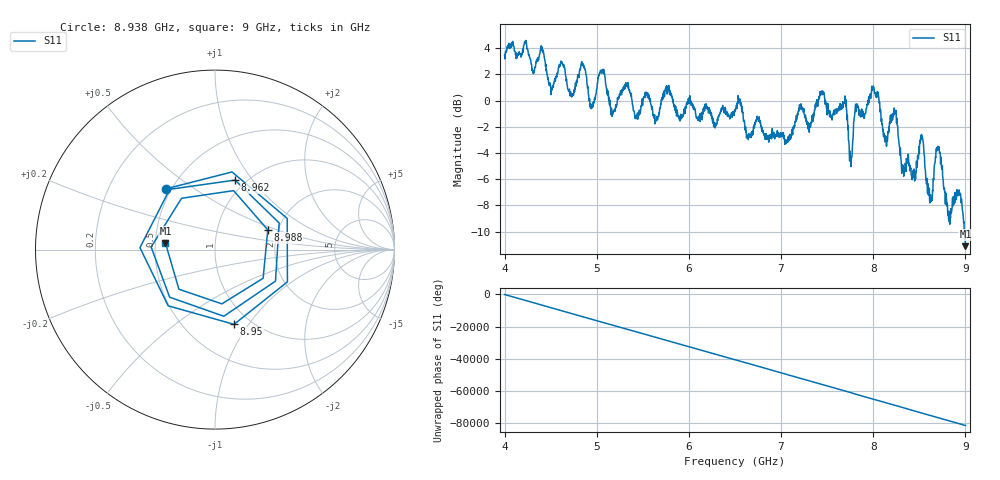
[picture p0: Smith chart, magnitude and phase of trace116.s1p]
! Created with skrf 1.8.0 (http://scikit-rf.org).
# Hz S RI R 50.0
!freq ReS11 ImS11
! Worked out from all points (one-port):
!   1601 points, 4 GHz to 9 GHz, reference 50 ohm
!   lowest |S11| = -11.1 dB at 9 GHz (marker M1), VSWR 1.77, Z = 28.3 + j2.21 ohm
!   |S11| at or under -10 dB: 8.987707 GHz to end of sweep
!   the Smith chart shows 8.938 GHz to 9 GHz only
!   S11 on the Smith chart (normalised r, x): 8.938 GHz: 0.47, +0.39; 8.95 GHz: 0.84, -0.86; 8.962 GHz: 0.89, +0.83; 8.988 GHz: 1.77, +0.43; 9 GHz: 0.57, +0.04
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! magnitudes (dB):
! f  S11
! 4 GHz  3.5
! 4.406 GHz  3.8
! 4.503 GHz  0.5
! 4.625 GHz  2.9
! 4.734 GHz  0.5
! 4.853 GHz  2.7
! 4.941 GHz  -0.5
! 5.053 GHz  2.2
! 5.169 GHz  -0.9
! 5.25 GHz  0.4
! 5.875 GHz  -0.9
! 6.5 GHz  -0.7
! 7.125 GHz  -2.6
! 7.444 GHz  0.7
! 7.688 GHz  -0.2
! 7.75 GHz  -4.5
! 7.812 GHz  -0.8
! 8.003 GHz  1.1
! 8.375 GHz  -4.3
! 8.528 GHz  -2.6
! 8.622 GHz  -7.2
! 8.703 GHz  -3.5
! 8.822 GHz  -8.4
! 8.938 GHz  -7.2
! 8.95 GHz  -7.3
! 8.962 GHz  -7.9
! 8.988 GHz  -10.1
! 9 GHz  -11.1
